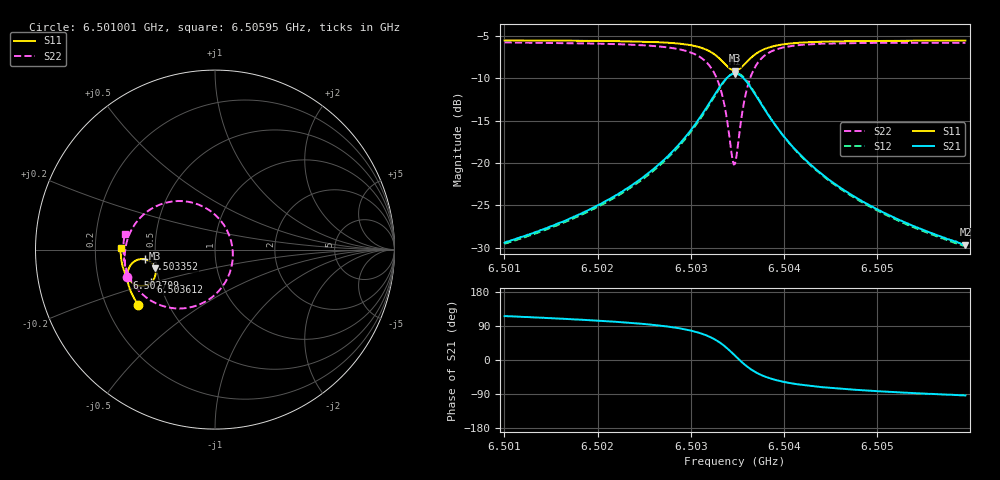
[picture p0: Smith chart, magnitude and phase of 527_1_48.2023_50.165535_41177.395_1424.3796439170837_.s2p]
#  HZ  S  RI  R  50.00
! Rohde & Schwarz Vector Network Analyzer
! Rohde-Schwarz,ZNB20-2Port,1311601062101988,3.16
! Created: UTC 3/20/2024, 11:59:43 AM
! freq[Hz]  re:S11  im:S11  re:S21  im:S21  re:S12  im:S12  re:S22  im:S22
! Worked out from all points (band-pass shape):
!   401 points, 6.501001 GHz to 6.50595 GHz, reference 50 ohm
!   highest |S21| = -9.46 dB at 6.503476 GHz (marker M1); lowest = -29.6 dB at 6.50595 GHz (marker M2)
!   |S21| within 3 dB of the highest: 6.503228 GHz to 6.503724 GHz (495.2 kHz wide, 0.00761 % of centre)
!   lowest |S11| = -9.1 dB at 6.503476 GHz (marker M3), VSWR 2.08, Z = 24.5 - j5.86 ohm
!   |S11| at or under -10 dB: nowhere
!   |S22| runs from -20.2 to -5.8 dB; largest |S21 - S12| = 0.011
!   S11 on the Smith chart (normalised r, x): 6.501001 GHz: 0.34, -0.29; 6.502709 GHz: 0.33, -0.14; 6.503352 GHz: 0.44, -0.06; 6.503612 GHz: 0.45, -0.19; 6.50595 GHz: 0.31, +0.01
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6.5010013e9  -0.4283 -0.3072  -0.0147 0.0305  -0.0132 0.0307  -0.4908 -0.1508
6.5018302e9  -0.4637 -0.2456  -0.0141 0.0486  -0.0118 0.0482  -0.5034 -0.0621
6.502288e9  -0.4797 -0.2045  -0.011 0.0684  -0.00816 0.0672  -0.4997 0.00369
6.5026592e9  -0.4882 -0.1629  -0.00181 0.0981  0.00159 0.0959  -0.4797 0.0792
6.5027087e9  -0.4887 -0.1564  0.000702 0.1039  0.00418 0.1015  -0.4741 0.0919
6.5029437e9  -0.4855 -0.1195  0.0232 0.1406  0.0266 0.1364  -0.4271 0.166
6.5031046e9  -0.4711 -0.0874  0.0622 0.1763  0.0648 0.1709  -0.3512 0.2292
6.5032531e9  -0.4337 -0.0577  0.1431 0.2052  0.1438 0.1993  -0.2038 0.2706
6.503352e9  -0.3876 -0.0545  0.2339 0.189  0.234 0.1848  -0.0468 0.2287
6.5034386e9  -0.3449 -0.0831  0.312 0.1153  0.3144 0.1117  0.0777 0.0836
6.5034634e9  -0.3368 -0.0973  0.3254 0.0838  0.3287 0.0794  0.0948 0.0243
6.5034758e9  -0.3339 -0.105  0.3298 0.0669  0.3334 0.0621  0.0988 -0.00706
6.5035005e9  -0.3309 -0.1211  0.3334 0.0326  0.3374 0.0265  0.0968 -0.0699
6.5035376e9  -0.333 -0.1449  0.3262 -0.0173  0.33 -0.0257  0.07 -0.1583
6.5036119e9  -0.3549 -0.1819  0.2802 -0.0935  0.2805 -0.1045  -0.0388 -0.2811
6.5037232e9  -0.4003 -0.202  0.1938 -0.1388  0.189 -0.1484  -0.2136 -0.328
6.503884e9  -0.4473 -0.1926  0.1104 -0.1354  0.1037 -0.1405  -0.364 -0.28
6.5040573e9  -0.4752 -0.1712  0.0649 -0.1146  0.0589 -0.1169  -0.4372 -0.2137
6.5043047e9  -0.4962 -0.1413  0.0344 -0.0897  0.0297 -0.0902  -0.4814 -0.1408
6.5046635e9  -0.5114 -0.1034  0.0156 -0.0666  0.0123 -0.0662  -0.5037 -0.0676
6.5051337e9  -0.5214 -0.0595  0.00505 -0.049  0.00298 -0.0484  -0.5103 0.000222
6.5059503e9  -0.5265 0.00992  -0.00209 -0.033  -0.00333 -0.0322  -0.5029 0.0878
